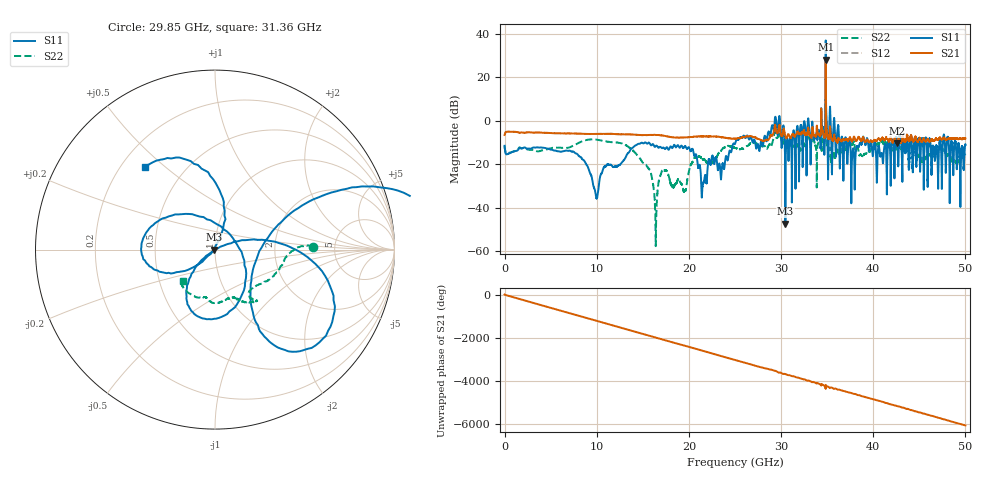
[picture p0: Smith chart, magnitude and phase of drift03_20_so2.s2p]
!Created with skrf (http://scikit-rf.org).
# Hz S RI R 50.0
!freq ReS11 ImS11 ReS21 ImS21 ReS12 ImS12 ReS22 ImS22
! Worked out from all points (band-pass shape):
!   10001 points, 300 kHz to 50 GHz, reference 50 ohm
!   highest |S21| = 28.09 dB at 34.85 GHz (marker M1); lowest = -10.4 dB at 42.55 GHz (marker M2)
!   |S21| within 3 dB of the highest: 34.84401 GHz to 34.84603 GHz (2.02 MHz wide, 0.0058 % of centre)
!   lowest |S11| = -47.3 dB at 30.47 GHz (marker M3), VSWR 1.01, Z = 49.6 - j0.0781 ohm
!   |S11| at or under -10 dB: start of sweep to 15.22 GHz; 15.32 GHz to 25.05 GHz (9.73 GHz wide, 48.2 % of centre); 40.22 GHz to 41.63 GHz (1.414 GHz wide, 3.46 % of centre) (the widest 3 of 52)
!   |S22| runs from -57.7 to 19.2 dB; largest |S21 - S12| = 3.8
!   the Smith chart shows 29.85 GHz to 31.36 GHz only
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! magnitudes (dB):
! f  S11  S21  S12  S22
! 300 kHz  -11.5  -6.5  -6.5  -11.5
! 8.335 GHz  -17.1  -6.0  -6.0  -9.6
! 9.955 GHz  -35.5  -6.1  -6.1  -8.7
! 10.99 GHz  -20.8  -6.0  -6.0  -9.5
! 15.53 GHz  -10.5  -6.6  -6.6  -21.4
! 16.37 GHz  -11.9  -6.5  -6.5  -46.2
! 16.67 GHz  -12.4  -6.5  -6.5  -29.4
! 17.33 GHz  -12.7  -6.9  -6.9  -22.9
! 19.54 GHz  -11.7  -7.7  -7.7  -32.5
! 20.21 GHz  -13.9  -7.5  -7.5  -20.2
! 21.55 GHz  -28.6  -7.2  -7.2  -17.7
! 25 GHz  -10.6  -8.3  -8.3  -12.5
! 29.6 GHz  -5.6  -5.7  -5.9  -7.9
! 30.47 GHz  -47.3  -7.2  -7.2  -9.0
! 33.34 GHz  -3.8  -6.9  -6.8  -9.4
! 34.85 GHz  37.0  28.1  27.9  19.2
! 35.63 GHz  -6.6  -9.3  -9.2  -16.0
! 37.82 GHz  -12.8  -8.4  -8.4  -10.0
! 38.81 GHz  -9.4  -8.4  -8.3  -16.2
! 41.67 GHz  -9.6  -9.5  -9.4  -11.5
! 42.55 GHz  -8.5  -10.4  -10.4  -13.2
! 50 GHz  -11.0  -8.2  -8.2  -15.5
